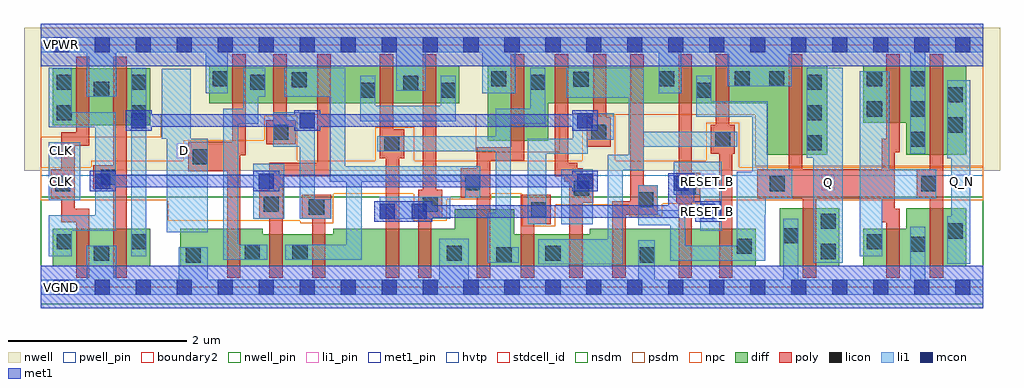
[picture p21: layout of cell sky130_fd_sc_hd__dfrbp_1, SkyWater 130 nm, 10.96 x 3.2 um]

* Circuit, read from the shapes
.subckt sky130_fd_sc_hd__dfrbp_1 CLK D Q Q_N RESET_B VGND VNB VPB VPWR
XM1 VGND CLK n1 VNB sky130_fd_pr__nfet_01v8 w=0.42 l=0.15
XM2 n2 n1 VGND VNB sky130_fd_pr__nfet_01v8 w=0.42 l=0.15
XM3 n3 D VGND VNB sky130_fd_pr__nfet_01v8 w=0.42 l=0.15
XM4 n4 n1 n3 VNB sky130_fd_pr__nfet_01v8 w=0.36 l=0.15
XM5 n5 n2 n4 VNB sky130_fd_pr__nfet_01v8 w=0.36 l=0.15
XM6 n6 n7 n5 VNB sky130_fd_pr__nfet_01v8 w=0.42 l=0.15
XM7 VGND RESET_B n6 VNB sky130_fd_pr__nfet_01v8 w=0.42 l=0.15
XM8 n7 n4 VGND VNB sky130_fd_pr__nfet_01v8 w=0.64 l=0.15
XM9 n8 n2 n7 VNB sky130_fd_pr__nfet_01v8 w=0.36 l=0.15
XM10 n9 n1 n8 VNB sky130_fd_pr__nfet_01v8 w=0.36 l=0.15
XM11 VGND n10 n9 VNB sky130_fd_pr__nfet_01v8 w=0.42 l=0.15
XM12 n11 RESET_B VGND VNB sky130_fd_pr__nfet_01v8 w=0.42 l=0.15
XM13 n10 n8 n11 VNB sky130_fd_pr__nfet_01v8 w=0.42 l=0.15
XM14 Q n10 VGND VNB sky130_fd_pr__nfet_01v8 w=0.65 l=0.15
XM15 VGND n10 n12 VNB sky130_fd_pr__nfet_01v8 w=0.42 l=0.15
XM16 Q_N n12 VGND VNB sky130_fd_pr__nfet_01v8 w=0.65 l=0.15
XM17 VPWR CLK n1 VPB sky130_fd_pr__pfet_01v8_hvt w=0.64 l=0.15
XM18 n2 n1 VPWR VPB sky130_fd_pr__pfet_01v8_hvt w=0.64 l=0.15
XM19 n3 D VPWR VPB sky130_fd_pr__pfet_01v8_hvt w=0.42 l=0.15
XM20 n4 n2 n3 VPB sky130_fd_pr__pfet_01v8_hvt w=0.42 l=0.15
XM21 n13 n1 n4 VPB sky130_fd_pr__pfet_01v8_hvt w=0.42 l=0.15
XM22 VPWR n7 n13 VPB sky130_fd_pr__pfet_01v8_hvt w=0.42 l=0.15
XM23 n13 RESET_B VPWR VPB sky130_fd_pr__pfet_01v8_hvt w=0.42 l=0.15
XM24 n7 n4 VPWR VPB sky130_fd_pr__pfet_01v8_hvt w=0.84 l=0.15
XM25 n8 n1 n7 VPB sky130_fd_pr__pfet_01v8_hvt w=0.42 l=0.15
XM26 n14 n2 n8 VPB sky130_fd_pr__pfet_01v8_hvt w=0.42 l=0.15
XM27 VPWR n10 n14 VPB sky130_fd_pr__pfet_01v8_hvt w=0.42 l=0.15
XM28 n10 RESET_B VPWR VPB sky130_fd_pr__pfet_01v8_hvt w=0.42 l=0.15
XM29 VPWR n8 n10 VPB sky130_fd_pr__pfet_01v8_hvt w=0.42 l=0.15
XM30 Q n10 VPWR VPB sky130_fd_pr__pfet_01v8_hvt w=1 l=0.15
XM31 VPWR n10 n12 VPB sky130_fd_pr__pfet_01v8_hvt w=0.64 l=0.15
XM32 Q_N n12 VPWR VPB sky130_fd_pr__pfet_01v8_hvt w=1 l=0.15
.ends

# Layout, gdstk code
import gdstk
lib = gdstk.Library(unit=1e-6, precision=1e-09)
def R(c, l, rs):  # rectangles x0, y0, x1, y1
    for r in rs: c.add(gdstk.rectangle(r[:2], r[2:], *l))
def A(c, l, x, y, w, h, nx, ny, dx, dy):  # array of equal rectangles
    R(c, l, [(x+i*dx, y+j*dy, x+i*dx+w, y+j*dy+h) for i in range(nx) for j in range(ny)])
def P(c, l, *ps):  # polygons
    for p in ps: c.add(gdstk.Polygon(p, *l))
nwell_pin = (64, 16)
nwell = (64, 20)
diff = (65, 20)
poly = (66, 20)
licon = (66, 44)
li1_pin = (67, 16)
li1 = (67, 20)
mcon = (67, 44)
met1_pin = (68, 16)
met1 = (68, 20)
hvtp = (78, 44)
stdcell_id = (81, 4)
nsdm = (93, 44)
psdm = (94, 20)
npc = (95, 20)
pwell_pin = (122, 16)
boundary2 = (236, 0)

sky130_fd_sc_hd__dfrbp_1 = lib.new_cell('sky130_fd_sc_hd__dfrbp_1')
R(sky130_fd_sc_hd__dfrbp_1, nwell_pin, [(0.145,2.635,0.315,2.805)])
R(sky130_fd_sc_hd__dfrbp_1, nwell, [(-0.19,1.305,10.77,2.91)])
R(sky130_fd_sc_hd__dfrbp_1, diff, [(0.135,0.235,1.225,0.655), (8.295,0.235,8.965,0.885), (0.135,1.815,1.225,2.455), (3.305,2.065,4.7,2.485)])
P(sky130_fd_sc_hd__dfrbp_1, diff, [(1.89,2.065),(1.89,2.485),(3.335,2.485),(3.335,2.48),(3.33,2.48),(3.33,2.065)],
  [(9.72,1.485),(9.72,1.845),(9.235,1.845),(9.235,2.485),(10.39,2.485),(10.39,1.485)],
  [(9.235,0.235),(9.235,0.655),(9.72,0.655),(9.72,0.885),(10.39,0.885),(10.39,0.235)],
  [(1.565,0.235),(1.565,0.655),(2.49,0.655),(2.49,0.595),(3.285,0.595),(3.285,0.655),(4.645,0.655),(4.645,0.875),(5.315,0.875),(5.315,0.595),(6.165,0.595),(6.165,0.655),(8.025,0.655),(8.025,0.235)],
  [(8.15,1.485),(8.15,2.065),(5.695,2.065),(5.695,1.645),(5.015,1.645),(5.015,2.485),(8.83,2.485),(8.83,1.485)])
R(sky130_fd_sc_hd__dfrbp_1, poly, [(3.875,0.105,4.025,1.515), (4.29,1.055,4.44,2.615), (8.4,1.285,8.55,2.615), (3.805,1.445,4.08,1.775), (3.805,1.76,3.955,2.615)])
P(sky130_fd_sc_hd__dfrbp_1, poly, [(8.555,0.105),(8.555,0.995),(8.045,0.995),(8.045,1.325),(9.545,1.325),(9.545,0.995),(8.705,0.995),(8.705,0.105)],
  [(9.98,0.105),(9.98,0.995),(9.835,0.995),(9.835,1.325),(9.98,1.325),(9.98,2.615),(10.13,2.615),(10.13,0.105)],
  [(7.16,0.105),(7.16,0.955),(7.135,0.955),(7.135,1.285),(7.16,1.285),(7.16,2.615),(7.31,2.615),(7.31,1.285),(7.405,1.285),(7.405,0.955),(7.31,0.955),(7.31,0.105)],
  [(7.615,0.105),(7.615,1.495),(7.52,1.495),(7.52,1.825),(7.58,1.825),(7.58,2.615),(7.73,2.615),(7.73,1.825),(7.79,1.825),(7.79,1.495),(7.765,1.495),(7.765,0.105)],
  [(2.09,0.105),(2.09,1.3),(1.655,1.3),(1.655,1.63),(2.15,1.63),(2.15,2.615),(2.3,2.615),(2.3,1.48),(2.24,1.48),(2.24,0.105)],
  [(0.815,0.105),(0.815,1.1),(0.59,1.1),(0.59,1.37),(0.815,1.37),(0.815,2.585),(0.965,2.585),(0.965,0.105)],
  [(2.565,0.105),(2.565,0.765),(2.45,0.765),(2.45,1.095),(2.565,1.095),(2.565,1.395),(3.105,1.395),(3.105,2.615),(3.255,2.615),(3.255,1.245),(2.72,1.245),(2.72,0.765),(2.715,0.765),(2.715,0.105)],
  [(3.045,0.105),(3.045,0.765),(2.93,0.765),(2.93,1.035),(3.26,1.035),(3.26,0.765),(3.195,0.765),(3.195,0.105)],
  [(0.395,0.105),(0.395,0.73),(0.23,0.73),(0.23,0.995),(0.11,0.995),(0.11,1.325),(0.23,1.325),(0.23,1.74),(0.395,1.74),(0.395,2.585),(0.545,2.585),(0.545,1.59),(0.38,1.59),(0.38,0.88),(0.545,0.88),(0.545,0.105)],
  [(5.39,0.105),(5.39,1.035),(5.725,1.035),(5.725,0.705),(5.54,0.705),(5.54,0.105)],
  [(4.235,0.105),(4.235,1.095),(4.505,1.095),(4.505,0.765),(4.385,0.765),(4.385,0.105)],
  [(9.495,0.105),(9.495,0.73),(9.44,0.73),(9.44,1.665),(9.495,1.665),(9.495,2.615),(9.645,2.615),(9.645,1.515),(9.59,1.515),(9.59,0.88),(9.645,0.88),(9.645,0.105)],
  [(2.53,1.605),(2.53,1.875),(2.61,1.875),(2.61,2.615),(2.76,2.615),(2.76,1.875),(2.86,1.875),(2.86,1.605)],
  [(4.895,0.105),(4.895,1.005),(4.715,1.005),(4.715,1.335),(4.895,1.335),(4.895,1.57),(5.275,1.57),(5.275,2.615),(5.425,2.615),(5.425,1.42),(5.045,1.42),(5.045,0.105)],
  [(5.935,0.105),(5.935,1.185),(5.875,1.185),(5.875,1.245),(5.77,1.245),(5.77,2.615),(5.92,2.615),(5.92,1.395),(6.02,1.395),(6.02,1.335),(6.085,1.335),(6.085,1.275),(6.205,1.275),(6.205,0.945),(6.085,0.945),(6.085,0.105)],
  [(6.13,1.575),(6.13,1.905),(6.2,1.905),(6.2,2.615),(6.35,2.615),(6.35,1.905),(6.4,1.905),(6.4,1.575)],
  [(6.415,0.105),(6.415,0.965),(6.62,0.965),(6.62,2.615),(6.77,2.615),(6.77,1.145),(6.925,1.145),(6.925,0.815),(6.565,0.815),(6.565,0.105)])
A(sky130_fd_sc_hd__dfrbp_1, licon, 8.6, 1.535, 0.17, 0.17, 1, 3, 0, 0.34)
A(sky130_fd_sc_hd__dfrbp_1, licon, 9.76, 1.575, 0.17, 0.17, 1, 3, 0, 0.34)
R(sky130_fd_sc_hd__dfrbp_1, licon, [(1.625,0.275,1.795,0.445), (5.115,0.275,5.285,0.445), (6.725,0.275,6.895,0.445), (0.595,0.295,0.765,0.465), (4.555,0.295,4.725,0.465), (5.665,0.295,5.835,0.465), (2.29,0.305,2.46,0.475), (2.825,0.305,2.995,0.475), (8.755,0.315,8.925,0.485), (7.815,0.375,7.985,0.545), (9.76,0.395,9.93,0.565), (0.175,0.425,0.345,0.595), (1.015,0.425,1.185,0.595), (9.275,0.425,9.445,0.595), (8.335,0.49,8.505,0.66), (10.18,0.545,10.35,0.715), (8.755,0.655,8.925,0.825), (5.505,0.785,5.675,0.955), (3.01,0.815,3.18,0.985), (2.5,0.845,2.67,1.015), (4.285,0.845,4.455,1.015), (6.705,0.895,6.875,1.065), (5.985,1.025,6.155,1.195), (7.185,1.035,7.355,1.205), (0.16,1.075,0.33,1.245), (8.185,1.075,8.355,1.245), (9.885,1.075,10.055,1.245), (4.765,1.085,4.935,1.255), (0.67,1.15,0.84,1.32), (1.705,1.38,1.875,1.55), (3.855,1.525,4.025,1.695), (7.57,1.575,7.74,1.745), (2.61,1.655,2.78,1.825), (6.18,1.655,6.35,1.825), (10.18,1.735,10.35,1.905), (0.175,1.875,0.345,2.045), (1.015,1.875,1.185,2.045), (9.275,1.915,9.445,2.085), (10.18,2.075,10.35,2.245), (3.585,2.125,3.755,2.295), (4.49,2.125,4.66,2.295), (7.36,2.125,7.53,2.295), (0.595,2.135,0.765,2.305), (4.07,2.205,4.24,2.375), (0.175,2.215,0.345,2.385), (1.015,2.215,1.185,2.385), (2.35,2.215,2.52,2.385), (5.495,2.215,5.665,2.385), (2.815,2.245,2.985,2.415), (5.98,2.25,6.15,2.42), (1.93,2.255,2.1,2.425), (5.055,2.255,5.225,2.425), (6.94,2.255,7.11,2.425), (7.79,2.255,7.96,2.425), (8.18,2.255,8.35,2.425), (9.275,2.255,9.445,2.425)])
R(sky130_fd_sc_hd__dfrbp_1, li1_pin, [(7.405,0.765,7.575,0.935), (8.77,1.09,8.915,1.265), (0.15,1.105,0.32,1.275), (7.405,1.105,7.575,1.275), (10.28,1.105,10.39,1.27), (0.15,1.445,0.32,1.615), (1.525,1.445,1.695,1.615)])
R(sky130_fd_sc_hd__dfrbp_1, li1, [(0,-0.085,9.2,0.085), (1.545,-0.03,1.875,0.445), (4.475,0.055,4.805,0.545), (0.515,0.06,0.845,0.465), (6.705,0.065,6.895,0.525), (8.335,0.065,8.505,0.77), (9.76,0.065,9.93,0.68), (1.015,0.345,1.185,2.465), (1.415,0.615,1.875,1.665), (5.845,0.705,6.195,1.325), (2.385,0.765,2.735,1.385), (3.805,0.765,4.595,1.015), (0.09,0.975,0.44,1.625), (8.16,0.995,8.435,1.325), (9.76,1.495,9.93,2.73), (3.775,1.525,5.13,1.695), (1.355,1.665,1.68,2.45), (0.515,2.135,0.845,2.665), (4.955,2.175,5.325,2.675), (6.94,2.175,7.19,2.69), (3.99,2.205,4.32,2.69), (7.71,2.255,8.43,2.7)])
P(sky130_fd_sc_hd__dfrbp_1, li1, [(8.675,0.275),(8.675,1.455),(8.6,1.455),(8.6,2.465),(9.005,2.465),(9.005,0.275)],
  [(5.465,0.705),(5.465,1.665),(5.97,1.665),(5.97,1.955),(6.43,1.955),(6.43,1.655),(6.14,1.655),(6.14,1.495),(5.675,1.495),(5.675,0.705)],
  [(0.09,0.345),(0.09,0.805),(0.61,0.805),(0.61,1.795),(0.09,1.795),(0.09,2.465),(0.345,2.465),(0.345,1.965),(0.84,1.965),(0.84,0.635),(0.345,0.635),(0.345,0.345)],
  [(2.045,0.305),(2.045,2.005),(2.27,2.005),(2.27,2.465),(2.52,2.465),(2.52,2.135),(2.44,2.135),(2.44,1.835),(2.215,1.835),(2.215,0.475),(2.54,0.475),(2.54,0.305)],
  [(2.905,0.765),(2.905,1.575),(2.61,1.575),(2.61,1.965),(3.075,1.965),(3.075,0.985),(3.26,0.985),(3.26,0.765)],
  [(7.065,0.295),(7.065,0.695),(6.705,0.695),(6.705,1.145),(6.925,1.145),(6.925,0.865),(7.235,0.865),(7.235,0.465),(7.815,0.465),(7.815,1.295),(7.99,1.295),(7.99,1.915),(7.36,1.915),(7.36,2.375),(7.53,2.375),(7.53,2.085),(8.16,2.085),(8.16,0.995),(8.14,0.995),(8.14,0.82),(8.135,0.82),(8.135,0.295)],
  [(2.745,0.305),(2.745,0.475),(3.43,0.475),(3.43,1.185),(3.245,1.185),(3.245,2.135),(2.735,2.135),(2.735,2.465),(3.415,2.465),(3.415,1.355),(4.935,1.355),(4.935,1.005),(4.765,1.005),(4.765,1.185),(3.6,1.185),(3.6,0.305)],
  [(5.585,0.255),(5.585,0.535),(6.365,0.535),(6.365,1.485),(6.6,1.485),(6.6,2.125),(5.9,2.125),(5.9,2.465),(6.77,2.465),(6.77,1.745),(7.82,1.745),(7.82,1.575),(6.77,1.575),(6.77,1.315),(6.535,1.315),(6.535,0.255)],
  [(7.405,0.635),(7.405,1.035),(7.105,1.035),(7.105,1.405),(7.645,1.405),(7.645,0.635)],
  [(1.85,2.175),(1.85,2.635),(0,2.635),(0,2.805),(9.2,2.805),(9.2,2.635),(2.1,2.635),(2.1,2.175)],
  [(3.585,1.865),(3.585,2.375),(3.755,2.375),(3.755,2.035),(4.49,2.035),(4.49,2.375),(4.66,2.375),(4.66,1.865)],
  [(5.015,0.275),(5.015,0.835),(5.105,0.835),(5.105,2.005),(5.495,2.005),(5.495,2.465),(5.665,2.465),(5.665,1.835),(5.275,1.835),(5.275,0.445),(5.365,0.445),(5.365,0.275)],
  [(10.18,0.265),(10.18,0.795),(10.225,0.795),(10.225,1.445),(10.18,1.445),(10.18,2.325),(10.435,2.325),(10.435,0.265)],
  [(9.195,0.345),(9.195,2.425),(9.525,2.425),(9.525,1.325),(10.055,1.325),(10.055,0.995),(9.445,0.995),(9.445,0.345)])
A(sky130_fd_sc_hd__dfrbp_1, mcon, 0.145, -0.085, 0.17, 0.17, 23, 2, 0.46, 2.72)
R(sky130_fd_sc_hd__dfrbp_1, mcon, [(3.805,0.765,3.975,0.935), (4.165,0.765,4.335,0.935), (7.405,0.765,7.575,0.935), (7.105,1.08,7.275,1.25), (0.61,1.105,0.78,1.275), (2.445,1.105,2.615,1.275), (6.025,1.105,6.195,1.275), (1.015,1.785,1.185,1.955), (2.905,1.785,3.075,1.955), (6.025,1.785,6.195,1.955)])
R(sky130_fd_sc_hd__dfrbp_1, met1_pin, [(0.145,-0.085,0.315,0.085), (0.145,2.635,0.315,2.805)])
R(sky130_fd_sc_hd__dfrbp_1, met1, [(7.045,0.91,7.335,1.28), (0.55,1.075,0.84,1.305), (5.965,1.075,6.255,1.305), (0.955,1.755,1.245,1.985), (5.965,1.755,6.255,1.985)])
P(sky130_fd_sc_hd__dfrbp_1, met1, [(2.385,1.075),(2.385,1.12),(0.82,1.12),(0.82,1.26),(2.385,1.26),(2.385,1.305),(2.675,1.305),(2.675,1.26),(6.045,1.26),(6.045,1.12),(2.675,1.12),(2.675,1.075)],
  [(2.845,1.755),(2.845,1.8),(1.185,1.8),(1.185,1.94),(2.845,1.94),(2.845,1.985),(3.135,1.985),(3.135,1.94),(6.075,1.94),(6.075,1.8),(3.135,1.8),(3.135,1.755)],
  [(3.745,0.735),(3.745,0.965),(4.395,0.965),(4.395,0.92),(7.335,0.92),(7.335,0.965),(7.635,0.965),(7.635,0.735),(7.345,0.735),(7.345,0.78),(4.395,0.78),(4.395,0.735)])
A(sky130_fd_sc_hd__dfrbp_1, hvtp, 9.2, 1.25, 0.46, 1.47, 3, 1, 0.46, 0)
R(sky130_fd_sc_hd__dfrbp_1, hvtp, [(0,1.25,9.2,2.72)])
R(sky130_fd_sc_hd__dfrbp_1, stdcell_id, [(0,0,10.58,2.72)])
R(sky130_fd_sc_hd__dfrbp_1, nsdm, [(0,-0.19,10.58,1.015)])
P(sky130_fd_sc_hd__dfrbp_1, psdm, [(8.02,1.355),(8.02,1.935),(5.825,1.935),(5.825,1.515),(4.885,1.515),(4.885,1.935),(1.35,1.935),(1.35,1.685),(0,1.685),(0,2.91),(10.58,2.91),(10.58,1.355)])
R(sky130_fd_sc_hd__dfrbp_1, npc, [(3.755,1.365,4.195,1.795)])
P(sky130_fd_sc_hd__dfrbp_1, npc, [(5.405,0.685),(5.405,1.05),(5.055,1.05),(5.055,0.985),(4.555,0.985),(4.555,0.745),(4.185,0.745),(4.185,1.05),(3.28,1.05),(3.28,0.715),(2.91,0.715),(2.91,0.745),(1.425,0.745),(1.425,0.975),(0,0.975),(0,1.345),(0.565,1.345),(0.565,1.42),(1.6,1.42),(1.6,1.65),(2.51,1.65),(2.51,1.925),(2.88,1.925),(2.88,1.42),(6.08,1.42),(6.08,1.925),(6.45,1.925),(6.45,1.42),(7.47,1.42),(7.47,1.845),(7.84,1.845),(7.84,1.345),(10.58,1.345),(10.58,0.975),(7.455,0.975),(7.455,0.935),(6.975,0.935),(6.975,0.795),(6.605,0.795),(6.605,0.925),(5.775,0.925),(5.775,0.685)])
R(sky130_fd_sc_hd__dfrbp_1, pwell_pin, [(0.145,-0.085,0.315,0.085)])
R(sky130_fd_sc_hd__dfrbp_1, boundary2, [(0,0,10.58,2.72)])
sky130_fd_sc_hd__dfrbp_1.add(gdstk.FlexPath([(9.2,0),(9.66,0)], 0.17, ends="flush", simple_path=True, layer=67, datatype=20))  # li1
sky130_fd_sc_hd__dfrbp_1.add(gdstk.FlexPath([(9.66,0),(10.12,0)], 0.17, ends="flush", simple_path=True, layer=67, datatype=20))  # li1
sky130_fd_sc_hd__dfrbp_1.add(gdstk.FlexPath([(10.12,0),(10.58,0)], 0.17, ends="flush", simple_path=True, layer=67, datatype=20))  # li1
sky130_fd_sc_hd__dfrbp_1.add(gdstk.FlexPath([(9.2,2.72),(9.66,2.72)], 0.17, ends="flush", simple_path=True, layer=67, datatype=20))  # li1
sky130_fd_sc_hd__dfrbp_1.add(gdstk.FlexPath([(9.66,2.72),(10.12,2.72)], 0.17, ends="flush", simple_path=True, layer=67, datatype=20))  # li1
sky130_fd_sc_hd__dfrbp_1.add(gdstk.FlexPath([(10.12,2.72),(10.58,2.72)], 0.17, ends="flush", simple_path=True, layer=67, datatype=20))  # li1
sky130_fd_sc_hd__dfrbp_1.add(gdstk.FlexPath([(9.2,0),(9.66,0)], 0.48, ends="flush", simple_path=True, layer=68, datatype=20))  # met1
sky130_fd_sc_hd__dfrbp_1.add(gdstk.FlexPath([(9.66,0),(10.12,0)], 0.48, ends="flush", simple_path=True, layer=68, datatype=20))  # met1
sky130_fd_sc_hd__dfrbp_1.add(gdstk.FlexPath([(10.12,0),(10.58,0)], 0.48, ends="flush", simple_path=True, layer=68, datatype=20))  # met1
sky130_fd_sc_hd__dfrbp_1.add(gdstk.FlexPath([(9.2,2.72),(9.66,2.72)], 0.48, ends="flush", simple_path=True, layer=68, datatype=20))  # met1
sky130_fd_sc_hd__dfrbp_1.add(gdstk.FlexPath([(9.66,2.72),(10.12,2.72)], 0.48, ends="flush", simple_path=True, layer=68, datatype=20))  # met1
sky130_fd_sc_hd__dfrbp_1.add(gdstk.FlexPath([(10.12,2.72),(10.58,2.72)], 0.48, ends="flush", simple_path=True, layer=68, datatype=20))  # met1
sky130_fd_sc_hd__dfrbp_1.add(gdstk.FlexPath([(0,0),(9.2,0)], 0.48, ends="flush", simple_path=True, layer=68, datatype=20))  # met1
sky130_fd_sc_hd__dfrbp_1.add(gdstk.FlexPath([(0,2.72),(9.2,2.72)], 0.48, ends="flush", simple_path=True, layer=68, datatype=20))  # met1
sky130_fd_sc_hd__dfrbp_1.add(gdstk.Label('VPWR', (0.23,2.72), layer=68, texttype=5))
sky130_fd_sc_hd__dfrbp_1.add(gdstk.Label('VGND', (0.23,0), layer=68, texttype=5))
sky130_fd_sc_hd__dfrbp_1.add(gdstk.Label('VPB', (0.23,2.72), layer=64, texttype=5))
sky130_fd_sc_hd__dfrbp_1.add(gdstk.Label('VNB', (0.23,0), layer=64, texttype=59))
sky130_fd_sc_hd__dfrbp_1.add(gdstk.Label('dfrbp_1', (0,0), layer=83, texttype=44))
sky130_fd_sc_hd__dfrbp_1.add(gdstk.Label('D', (1.61,1.53), layer=67, texttype=5))
sky130_fd_sc_hd__dfrbp_1.add(gdstk.Label('CLK', (0.235,1.19), layer=67, texttype=5))
sky130_fd_sc_hd__dfrbp_1.add(gdstk.Label('CLK', (0.235,1.53), layer=67, texttype=5))
sky130_fd_sc_hd__dfrbp_1.add(gdstk.Label('RESET_B', (7.49,0.85), layer=67, texttype=5))
sky130_fd_sc_hd__dfrbp_1.add(gdstk.Label('RESET_B', (7.49,1.19), layer=67, texttype=5))
sky130_fd_sc_hd__dfrbp_1.add(gdstk.Label('Q_N', (10.335,1.19), layer=67, texttype=5))
sky130_fd_sc_hd__dfrbp_1.add(gdstk.Label('Q', (8.84,1.18), layer=67, texttype=5))

lib.write_gds('sky130_fd_sc_hd__dfrbp_1.gds')
